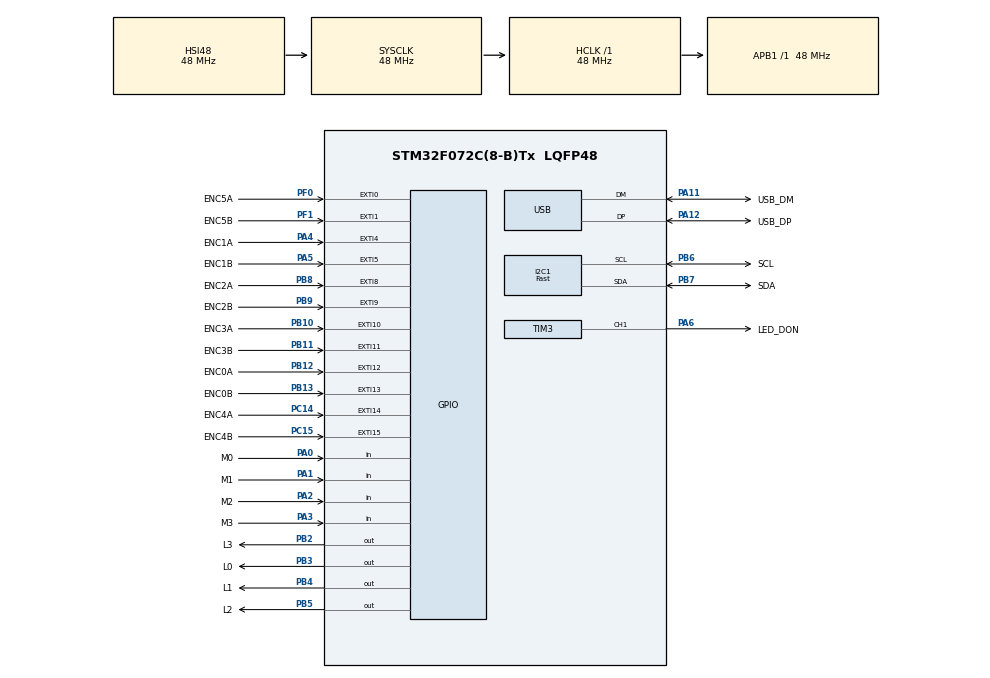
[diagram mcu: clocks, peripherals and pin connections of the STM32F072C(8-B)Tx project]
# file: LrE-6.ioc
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Dma.I2C1_TX.1.Direction=DMA_MEMORY_TO_PERIPH
Dma.I2C1_TX.1.Instance=DMA1_Channel6
Dma.I2C1_TX.1.MemDataAlignment=DMA_MDATAALIGN_BYTE
Dma.I2C1_TX.1.MemInc=DMA_MINC_ENABLE
Dma.I2C1_TX.1.Mode=DMA_NORMAL
Dma.I2C1_TX.1.PeriphDataAlignment=DMA_PDATAALIGN_BYTE
Dma.I2C1_TX.1.PeriphInc=DMA_PINC_DISABLE
Dma.I2C1_TX.1.Priority=DMA_PRIORITY_MEDIUM
Dma.Request0=TIM3_CH1/TRIG
Dma.Request1=I2C1_TX
Dma.TIM3_CH1/TRIG.0.Direction=DMA_MEMORY_TO_PERIPH
Dma.TIM3_CH1/TRIG.0.Instance=DMA1_Channel4
Dma.TIM3_CH1/TRIG.0.MemDataAlignment=DMA_MDATAALIGN_HALFWORD
Dma.TIM3_CH1/TRIG.0.MemInc=DMA_MINC_ENABLE
Dma.TIM3_CH1/TRIG.0.Mode=DMA_NORMAL
Dma.TIM3_CH1/TRIG.0.PeriphDataAlignment=DMA_PDATAALIGN_HALFWORD
Dma.TIM3_CH1/TRIG.0.PeriphInc=DMA_PINC_DISABLE
Dma.TIM3_CH1/TRIG.0.Priority=DMA_PRIORITY_LOW
I2C1.AddressingMode=I2C_ADDRESSINGMODE_7BIT
I2C1.Analog_Filter=I2C_ANALOGFILTER_ENABLE
I2C1.DualAddressMode=I2C_DUALADDRESS_DISABLE
I2C1.GeneralCallMode=I2C_GENERALCALL_DISABLE
I2C1.I2C_Coeff_DF=0
I2C1.I2C_Fall_Time=100
I2C1.I2C_Rise_Time=100
I2C1.I2C_Speed_Mode=I2C_Fast
I2C1.NoStretchMode=I2C_NOSTRETCH_DISABLE
I2C1.OwnAddress=0
I2C1.Speed=400
I2C1.Timing=0x0010020A
Mcu.Family=STM32F0
Mcu.Name=STM32F072C(8-B)Tx
Mcu.Package=LQFP48
Mcu.UserConstants=Lr_PID,0xA320;TIM_PERIOD_24mS,24576;TIM_PERIOD_8mS,7999;TIM_PERIOD_32mS,32768;TIM_PERIOD_125uS,125;PWM_HI,38;TIM_PRESC_1uS,47;Lr_VENDOR,"Ruffles Inc.";PWM_LO,15;Lr_PRODUCT,"LrE-6";PWM_PERIOD,59
NVIC.DMA1_Channel4_5_6_7_IRQn=true\:0\:0\:false\:false\:true\:false\:true
NVIC.EXTI0_1_IRQn=true\:0\:0\:false\:false\:true\:true\:true
NVIC.EXTI4_15_IRQn=true\:0\:0\:false\:false\:true\:true\:true
NVIC.I2C1_IRQn=true\:0\:0\:false\:false\:true\:true\:true
NVIC.TIM1_BRK_UP_TRG_COM_IRQn=true\:0\:0\:false\:false\:true\:true\:true
NVIC.TIM6_DAC_IRQn=true\:0\:0\:false\:false\:true\:true\:true
NVIC.TIM7_IRQn=true\:0\:0\:false\:false\:true\:true\:true
NVIC.USB_IRQn=true\:0\:0\:false\:false\:true\:false\:true
PA0.GPIO_Label=M0
PA0.Signal=GPIO_Input
PA1.GPIO_Label=M1
PA1.Signal=GPIO_Input
PA11.GPIO_Label=USB_DM
PA11.Mode=Device
PA11.Signal=USB_DM
PA12.GPIO_Label=USB_DP
PA12.Mode=Device
PA12.Signal=USB_DP
PA13.GPIO_Label=SWDIO
PA13.Mode=Serial_Wire
PA13.Signal=SYS_SWDIO
PA14.GPIO_Label=SWCLK
PA14.Mode=Serial_Wire
PA14.Signal=SYS_SWCLK
PA2.GPIO_Label=M2
PA2.Signal=GPIO_Input
PA3.GPIO_Label=M3
PA3.Signal=GPIO_Input
PA4.GPIO_Label=ENC1A
PA4.GPIO_ModeDefaultEXTI=GPIO_MODE_IT_RISING_FALLING
PA4.GPIO_PuPd=GPIO_NOPULL
PA4.Signal=GPXTI4
PA5.GPIO_Label=ENC1B
PA5.GPIO_ModeDefaultEXTI=GPIO_MODE_IT_RISING_FALLING
PA5.GPIO_PuPd=GPIO_NOPULL
PA5.Signal=GPXTI5
PA6.GPIO_Label=LED_DON
PA6.Signal=S_TIM3_CH1
PB10.GPIO_Label=ENC3A
PB10.GPIO_ModeDefaultEXTI=GPIO_MODE_IT_RISING_FALLING
PB10.Signal=GPXTI10
PB11.GPIO_Label=ENC3B
PB11.GPIO_ModeDefaultEXTI=GPIO_MODE_IT_RISING_FALLING
PB11.Signal=GPXTI11
PB12.GPIO_Label=ENC0A
PB12.GPIO_ModeDefaultEXTI=GPIO_MODE_IT_RISING_FALLING
PB12.Signal=GPXTI12
PB13.GPIO_Label=ENC0B
PB13.GPIO_ModeDefaultEXTI=GPIO_MODE_IT_RISING_FALLING
PB13.Signal=GPXTI13
PB2.GPIO_Label=L3
PB2.Signal=GPIO_Output
PB3.GPIO_Label=L0
PB3.Signal=GPIO_Output
PB4.GPIO_Label=L1
PB4.Signal=GPIO_Output
PB5.GPIO_Label=L2
PB5.Signal=GPIO_Output
PB6.GPIO_Label=SCL
PB6.GPIO_Pu=GPIO_PULLUP
PB6.Mode=I2C
PB6.Signal=I2C1_SCL
PB7.GPIO_Label=SDA
PB7.GPIO_Pu=GPIO_PULLUP
PB7.Mode=I2C
PB7.Signal=I2C1_SDA
PB8.GPIO_Label=ENC2A
PB8.GPIO_ModeDefaultEXTI=GPIO_MODE_IT_RISING_FALLING
PB8.Signal=GPXTI8
PB9.GPIO_Label=ENC2B
PB9.GPIO_ModeDefaultEXTI=GPIO_MODE_IT_RISING_FALLING
PB9.Signal=GPXTI9
PC14-OSC32_IN.GPIO_Label=ENC4A
PC14-OSC32_IN.GPIO_ModeDefaultEXTI=GPIO_MODE_IT_RISING_FALLING
PC14-OSC32_IN.Signal=GPXTI14
PC15-OSC32_OUT.GPIO_Label=ENC4B
PC15-OSC32_OUT.GPIO_ModeDefaultEXTI=GPIO_MODE_IT_RISING_FALLING
PC15-OSC32_OUT.Signal=GPXTI15
PF0-OSC_IN.GPIO_Label=ENC5A
PF0-OSC_IN.GPIO_ModeDefaultEXTI=GPIO_MODE_IT_RISING_FALLING
PF0-OSC_IN.Signal=GPXTI0
PF1-OSC_OUT.GPIO_Label=ENC5B
PF1-OSC_OUT.GPIO_ModeDefaultEXTI=GPIO_MODE_IT_RISING_FALLING
PF1-OSC_OUT.Signal=GPXTI1
ProjectManager.HeapSize=0x200
ProjectManager.StackSize=0x400
ProjectManager.TargetToolchain=STM32CubeIDE
RCC.AHBFreq_Value=48000000
RCC.APB1Freq_Value=48000000
RCC.APB1TimFreq_Value=48000000
RCC.FLatency=FLASH_LATENCY_1
RCC.HCLKFreq_Value=48000000
RCC.SYSCLKFreq_VALUE=48000000
RCC.SYSCLKSource=RCC_SYSCLKSOURCE_HSI48
SH.S_TIM3_CH1.0=TIM3_CH1,PWM Generation1 CH1
TIM1.AutoReloadPreload=TIM_AUTORELOAD_PRELOAD_DISABLE
TIM1.ClockDivision=TIM_CLOCKDIVISION_DIV1
TIM1.CounterMode=TIM_COUNTERMODE_UP
TIM1.Period=TIM_PERIOD_8mS
TIM1.Prescaler=TIM_PRESC_1uS
TIM1.RepetitionCounter=0
TIM1.TIM_MasterOutputTrigger=TIM_TRGO_RESET
TIM1.TIM_MasterSlaveMode=TIM_MASTERSLAVEMODE_DISABLE
TIM14.AutoReloadPreload=TIM_AUTORELOAD_PRELOAD_DISABLE
TIM14.ClockDivision=TIM_CLOCKDIVISION_DIV1
TIM14.CounterMode=TIM_COUNTERMODE_UP
TIM14.Period=TIM_PERIOD_125uS
TIM14.Prescaler=TIM_PRESC_1uS
TIM3.AutoReloadPreload=TIM_AUTORELOAD_PRELOAD_ENABLE
TIM3.Channel-PWM\ Generation1\ CH1=TIM_CHANNEL_1
TIM3.ClockDivision=TIM_CLOCKDIVISION_DIV1
TIM3.CounterMode=TIM_COUNTERMODE_UP
TIM3.OCPolarity_1=TIM_OCPOLARITY_LOW
TIM3.Period=PWM_PERIOD
TIM3.Prescaler=0
TIM3.TIM_MasterOutputTrigger=TIM_TRGO_RESET
TIM3.TIM_MasterSlaveMode=TIM_MASTERSLAVEMODE_DISABLE
TIM6.Period=TIM_PERIOD_24mS
TIM6.Prescaler=TIM_PRESC_1uS
TIM7.Period=TIM_PERIOD_32mS
TIM7.Prescaler=TIM_PRESC_1uS
USB.DeviceSpeed=PCD_SPEED_FULL
USB.low_power_enable=DISABLE
USB.lpm_enable=DISABLE
USB.phy_itface=PCD_PHY_EMBEDDED
USB_DEVICE.CLASS_NAME_FS=HID
USB_DEVICE.CONFIGURATION_STRING_HID_FS=HID Config
USB_DEVICE.INTERFACE_STRING_HID_FS=HID Interface
USB_DEVICE.LANGID_STRING=1033
USB_DEVICE.MANUFACTURER_STRING=Lr_VENDOR
USB_DEVICE.PID_HID_FS=Lr_PID
USB_DEVICE.PRODUCT_STRING_HID_FS=Lr_PRODUCT
USB_DEVICE.USBD_DEBUG_LEVEL=0
USB_DEVICE.USBD_MAX_NUM_CONFIGURATION=1
USB_DEVICE.USBD_MAX_NUM_INTERFACES=1
USB_DEVICE.USBD_MAX_STR_DESC_SIZ=512
USB_DEVICE.USBD_SELF_POWERED=1
USB_DEVICE.USBD_SUPPORT_USER_STRING=0
USB_DEVICE.VID=1155
USB_DEVICE.VirtualMode=Hid
USB_DEVICE.VirtualModeFS=Hid_FS
VP_TIM14_VS_ClockSourceINT.Mode=Enable_Timer
VP_TIM1_VS_ClockSourceINT.Mode=Internal
VP_TIM3_VS_ClockSourceINT.Mode=Internal
VP_TIM6_VS_ClockSourceINT.Mode=Enable_Timer
VP_TIM7_VS_ClockSourceINT.Mode=Enable_Timer
VP_USB_DEVICE_VS_USB_DEVICE_HID_FS.Mode=HID_FS
board=custom

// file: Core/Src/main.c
/* USER CODE BEGIN Header */
/**
  ******************************************************************************
  * @file main.c
  * @brief  Main program body
  * @author	remov-b4-flight
  * @copyright	3-Clause BSD License
  ******************************************************************************
  * @attention
  *
  * <h2><center>&copy; Copyright (c) 2020 STMicroelectronics.
  * All rights reserved.</center></h2>
  *
  * This software component is licensed by ST under Ultimate Liberty license
  * SLA0044, the "License"; You may not use this file except in compliance with
  * the License. You may obtain a copy of the License at:
  *                             www.st.com/SLA0044
  *
  ******************************************************************************
*/
/* USER CODE END Header */
#include "main.h"
#include "usb_device.h"

/* USER CODE BEGIN Includes */
#include <stdbool.h>
#include "midi.h"
#include "led.h"
#include "bitcount.h"
#include "key_define.h"
#include "usbd_midi_if.h"
#include "ssd1306.h"
/* USER CODE END Includes */

/* USER CODE BEGIN PTD */
#ifdef DEBUG
#define CONN_MSG_D	"%s %2x.%02xD"
#else
#define CONN_MSG	"%s %2x.%02x"
#endif
/* USER CODE END PTD */

I2C_HandleTypeDef hi2c1;
DMA_HandleTypeDef hdma_i2c1_tx;

TIM_HandleTypeDef htim1;
TIM_HandleTypeDef htim3;
TIM_HandleTypeDef htim6;
TIM_HandleTypeDef htim7;
TIM_HandleTypeDef htim14;
DMA_HandleTypeDef hdma_tim3_ch1_trig;

/* USER CODE BEGIN PV */

//! STM32 TIM3 instance handle
TIM_HandleTypeDef htim3;
extern	USBD_HandleTypeDef hUsbDeviceFS;
//! Lr**** USB connection state
uint8_t		LrState;
//! Lr**** Scene index
uint8_t		LrScene;
// keyboard variable
//! If true, ISR detected any Key/Encoder was moved.
bool		isKeyPressed;
//! Key pressed/released status set by timer key scanning.
KEYSCAN     Key_Stat;
//! In key scanning whether Line selected to read for key matrix.
uint8_t		Key_Line;
//! If true, MIDI event previous sent is switch. if false, it's encoder
bool		isPrev_sw;
//! Bit masks for which bit of KEYSCAN variable acts as key.
uint32_t	MaskKey[SCENE_COUNT];
//! Bit masks for which bit of KEYSCAN variable acts as encoder.
uint32_t	MaskEnc[SCENE_COUNT];

// OLED variables
//! Flag set by timer ISR, It makes 'off' OLES contents.
bool 		Msg_Timer_Update;
//! Timer counter ticked by end of L3 matrix scanning. (16ms interval).
int32_t		Msg_Timer_Count;
//! If true Msg_Timer counting is enabled.
bool		Msg_Timer_Enable;
//! If true, Screen is cleared in main() that is determined on timer interrupt.
bool		Msg_Off_Flag;
//! If true, Screen is flashed by Msg_Buffer[] at main() function.
static	bool	isMsgFlash;
//! If true, frame_buffer[] contents flashes the screen.
static	bool	isRender;

// LED variables
//! If true, LEDs are flashed by LEDColor[] array.
bool		isLEDsendpulse;
//! Flag is set by timer ISR, It makes LED_Timer[] count up in main()
bool		LED_Timer_Update;

// Scene related
extern	KEY_DEFINE keytable[SCENE_COUNT][DEFINES_PER_SCENE];
extern	char *scene_name[SCENE_COUNT];
extern	uint8_t	led_axis_table[DEFINES_PER_SCENE];

extern	uint8_t	LED_Scene[SCENE_COUNT][LED_COUNT];
extern	uint8_t	LEDColor[LED_COUNT];
extern	uint8_t	LEDTimer[LED_COUNT];

//! String message buffer of screen
extern char Msg_Buffer[MSG_LINES][MSG_WIDTH + 1];

// MIDI variables
//! MIDI CC message value for each channels.
uint8_t MIDI_CC_Value[SCENE_COUNT][ENC_COUNT];
//! keep previous sent 'Key On' note/channel for release message.
uint8_t prev_note;
//! USB MIDI message structure for send
MIDI_EVENT	USBMIDI_Event;

//! Instance Handle of USB interface
extern USBD_HandleTypeDef *pInstance;

/* USER CODE END PV */

void SystemClock_Config(void);
static void MX_GPIO_Init(void);
static void MX_DMA_Init(void);
static void MX_I2C1_Init(void);
static void MX_TIM3_Init(void);
static void MX_TIM1_Init(void);
static void MX_TIM14_Init(void);
static void MX_TIM6_Init(void);
static void MX_TIM7_Init(void);
/* USER CODE BEGIN PFP */
void EmulateKeyboard();
/* USER CODE END PFP */

/* USER CODE BEGIN 0 */

/**
 *	@brief	Mask all EXTI lines of encoders
 */
static void Stop_All_Encoders(){
	uint32_t temp = EXTI->IMR;
	temp &= 0xffff0000;
	EXTI->IMR = temp;
}
/**
 * @brief	Release all EXTI lines masked by StopAllEncoders()
 */
static void Start_All_Encoders(){
	uint32_t temp = EXTI->IMR;
	temp |= 0x0000ffff;
	EXTI->IMR = temp;
}

static inline void Start_MsgTimer(uint32_t tick){
	Msg_Off_Flag = false;
	Msg_Timer_Count = tick;
	Msg_Timer_Enable = true;
}

static inline void Msg_Print(){
	isMsgFlash = true;
}

/**
 * @brief alter LED contents by scene
 * @param scene	Scene No
 */
static void LED_SetScene(uint8_t scene){
	memcpy(LEDColor, LED_Scene[scene], LED_COUNT);
	LED_SendPulse();
}
/**
 * @brief Make MaskKey[],MaskRot[] from keytable[](in key_define.c)
 * @return false : there is some configuration error.
 */
static void	MakeMasks(){
	for(uint8_t scn = 0; scn < SCENE_COUNT; scn++){
		for(uint8_t bit = 0; bit < DEFINES_PER_SCENE; bit++){
			uint32_t	or_bit = (1 << bit);
			MaskKey[scn] |= (keytable[scn][bit].type == TYPE_SWITCH)?	or_bit : 0;
			MaskEnc[scn] |= (keytable[scn][bit].type == TYPE_ROTARY)?	or_bit : 0;
		}
	}
}

/**
 *	@brief	Generate MIDI event and Send to host by User interaction.
 *	@return true : function processed any Key/Encoder event.
 *	@pre	isKeyPressed	any key is pressed or not
 *	@pre	Key_Stat		current key status
 */
static void EmulateMIDI(){
	char msg_string[MSG_WIDTH];

	if (isKeyPressed) {
    	//Send 'Note On' Event from key matrix
        uint8_t		bitpos = ntz32(Key_Stat.wd);
        uint32_t	rkey = (Key_Stat.wd);
        bool 		isKeyReport = false;

        if ( Key_Stat.wd & MaskKey[LrScene] ) { //Matrix switches
        	uint8_t	note = (LrScene * NOTES_PER_SCENE) + bitpos;
        	if (bitpos == SCENE_BIT) { //is [SCENE] switch pressed?
            	//Move to next Scene.
            	if((++LrScene) >= SCENE_COUNT){
            		LrScene = Lr_SCENE0;
        		}
        		LED_SetScene(LrScene);
        		strcpy(msg_string, scene_name[LrScene]);
        	}else{
                LED_SetPulse(keytable[LrScene][bitpos].axis, keytable[LrScene][bitpos].color, keytable[LrScene][bitpos].period);
            	sprintf(msg_string, "Note: %3d    S%1d", note, (LrScene % SCENE_COUNT) );
        	}
                isKeyReport = true;

            //Print Message to OLED & LED
            if (keytable[LrScene][bitpos].message != NULL) {
            	SSD1306_SetScreen(ON);

        		strcpy(Msg_Buffer[0], keytable[LrScene][bitpos].message);
        		strcpy(Msg_Buffer[1], msg_string);
        		Msg_Print();

            	Start_MsgTimer(MSG_TIMER_DEFAULT);
            }

            if (isKeyReport == true) {
				//Set 'Note ON
				USBMIDI_Event.header = MIDI_NT_ON;
				USBMIDI_Event.status = MIDI_NT_ON_S;
				USBMIDI_Event.channel = note;
				USBMIDI_Event.value = MIDI_NT_VELOCITY;

				prev_note = note;
				isPrev_sw = true;
            }
        }else if( Key_Stat.wd & MaskEnc[LrScene] ) {
        	//Send CC Event from encoder
        	uint8_t axis = (bitpos - KEY_COUNT) / 2;
        	uint8_t val = MIDI_CC_Value[LrScene][axis];
        	uint8_t channel = CC_CH_OFFSET + (LrScene * CC_CH_PER_SCENE) + axis;

            USBMIDI_Event.header = MIDI_CC_HEADER;
            USBMIDI_Event.status = MIDI_CC_STATUS;
            USBMIDI_Event.channel = channel;
            USBMIDI_Event.value = val;

            isPrev_sw = false;

            //Print Message to OLED & LED
            if (keytable[LrScene][bitpos].message != NULL) {
            	SSD1306_SetScreen(ON);
                sprintf(msg_string,
                	((channel > 99)? "C%3d = %3d    S%1d" : "Ch%1d = %3d    S%1d"), channel, val, LrScene);
                strcpy(Msg_Buffer[0], keytable[LrScene][bitpos].message);
            	strcpy(Msg_Buffer[1], msg_string);
            	Msg_Print();

            	Start_MsgTimer(MSG_TIMER_DEFAULT);
            }
            LED_SetPulse(keytable[LrScene][bitpos].axis, keytable[LrScene][bitpos].color, keytable[LrScene][bitpos].period);
            isKeyReport = true;

        }else if(isPrev_sw == true && rkey == 0) {// Switch is released
			//Send 'Note Off' Event
			USBMIDI_Event.header = MIDI_NT_OFF;
			USBMIDI_Event.status = MIDI_NT_OFF_S;
			USBMIDI_Event.channel = prev_note;
			USBMIDI_Event.value = MIDI_NT_VELOCITY;

			isKeyReport = true;
			isPrev_sw = false;
        }

        if(isKeyReport == true){
			//Send MIDI event via USB
		    USBD_LL_Transmit (pInstance, MIDI_IN_EP, (uint8_t *)&USBMIDI_Event, MIDI_EVENT_LENGTH);
			isKeyReport = false;
        }

        /* Clear the switch pressed flag */
        isKeyPressed = false;
    }
}
/* USER CODE END 0 */

int main(void)
{
  /* USER CODE BEGIN 1 */
  //! Indicates 1st Msg_Timer timeout has occurred from power on reset.
  bool Msg_1st_timeout = true;
  /* USER CODE END 1 */

  /* MCU Configuration--------------------------------------------------------*/

  /* Reset of all peripherals, Initializes the Flash interface and the Systick. */
  HAL_Init();

  /* USER CODE BEGIN Init */
  Key_Line = L0;
  Msg_Off_Flag = false;
  Msg_Timer_Enable = false;
  Msg_Timer_Count = MSG_TIMER_DEFAULT;
  isMsgFlash = false;
  isRender = true;

  LrState = LR_RESET;
  LrScene = Lr_SCENE0;

  isPrev_sw = false;
  isLEDsendpulse = false;
  Msg_Timer_Update = false;
  LED_Timer_Update = false;
  /* USER CODE END Init */

  /* Configure the system clock */
  SystemClock_Config();

  /* Initialize all configured peripherals */
  MX_GPIO_Init();
  MX_DMA_Init();
  MX_I2C1_Init();
  MX_TIM3_Init();
  MX_TIM1_Init();
  MX_TIM14_Init();
#if 1
  MX_USB_MIDI_INIT();
#else
  MX_USB_DEVICE_Init();
#endif
  MX_TIM7_Init();
  MX_TIM6_Init();
  /* USER CODE BEGIN 2 */
  //Stop All Encoders until USB link up
  Stop_All_Encoders();
  //Initialize Switch matrix
  HAL_GPIO_WritePin(L0_GPIO_Port, L0_Pin, GPIO_PIN_SET);	//Initialize L0-3.
  MakeMasks();

  //Initialize series of WS2812C
  GPIOA->PUPDR |= GPIO_PUPDR_PUPDR6_0;	//Pull up PA6 (WS2812C-2020 workaround)
  GPIOA->ODR |= GPIO_PIN_6;				//'RESET' state
  //AF -> GPIO
  GPIOA->MODER &= ~(GPIO_MODER_MODER6_1);
  GPIOA->MODER |=	GPIO_MODER_MODER6_0;

  LED_Initialize();						//Set all LEDs to 'OFF'

  //Initialize SSD1306 OLED
  HAL_Delay(SSD1306_PWRUP_WAIT);		//Wait for OLED module power up.
  SSD1306_Initialize();
  /* USER CODE END 2 */

  /* Infinite loop */
  /* USER CODE BEGIN WHILE */
  uint32_t	nc_count = 0;

  HAL_TIM_Base_Start_IT(&htim6);		//Start LED timer.
  HAL_TIM_Base_Start_IT(&htim7);		//Start Message timer.
  Start_MsgTimer(MSG_TIMER_DEFAULT);
  LrState = LR_USB_NOLINK;

  //Initialize CC Value table
  memset(MIDI_CC_Value, MIDI_CC_INITIAL, SCENE_COUNT * ENC_COUNT);

  //LED Initialize
  LED_SetScene(LrScene);

  //Main loop
  while (1) {
	if (LrState == LR_USB_LINKUP) {
		//USB device configured by host
		SSD1306_SetScreen(ON);
		HAL_TIM_Base_Start_IT(&htim1);		//Start Switch matrix timer.
		Start_All_Encoders();				//Start rotary encoder.

#ifdef DEBUG
		int ch = ' ';
		sprintf(Msg_Buffer[0], CONN_MSG_D, Lr_PRODUCT, USBD_DEVICE_VER_MAJ, USBD_DEVICE_VER_MIN);
		memset(Msg_Buffer[1], ch, MSG_WIDTH );
		Msg_Print();
#else
		SSD1306_LoadBitmap();
		sprintf(Msg_Buffer[0], CONN_MSG, Lr_PRODUCT, USBD_DEVICE_VER_MAJ, USBD_DEVICE_VER_MIN);
		SSD1306_RenderBanner(Msg_Buffer[0], 12, 12);
		SSD1306_FlashScreen();
#endif
		Start_MsgTimer(MSG_TIMER_DEFAULT);
		memcpy(LEDColor,LED_Scene[LrScene],LED_COUNT);
		LED_SetPulse(LED_IDX_ENC0, LED_PINK, LED_TIM_CONNECT);
		LrState = LR_USB_LINKED;

	} else if (LrState == LR_USB_LINKED) {
		//Operate as MIDI Instruments.
		EmulateMIDI();
	} else if(LrState == LR_USB_LINK_LOST) {
		LrScene	= Lr_SCENE0;
		Stop_All_Encoders();
		HAL_TIM_Base_Stop(&htim1);

		LED_TestPattern();
		Msg_1st_timeout = false;
		Start_MsgTimer(MSG_TIMER_DEFAULT);
		nc_count = 0;
		LrState = LR_USB_NOLINK;

	} else if(LrState == LR_USB_NOLINK) {
		//USB can't be configured or disconnected by host.
		if (Msg_Off_Flag == true) {
			if (Msg_1st_timeout == true) {
				LrState = LR_USB_LINK_LOST;
			} else { // 2nd or more
				sprintf(Msg_Buffer[0], "%12ld", nc_count++);
				SSD1306_SetScreen(ON);

				Msg_Print();

				//Restart OLED timer.
				Start_MsgTimer(MSG_TIMER_UPDATE);

				//Rotate LED colors
				uint8_t	tempcolor = LEDColor[5];
				LEDColor[5] = LEDColor[4];
				LEDColor[4] = LEDColor[3];
				LEDColor[3] = LEDColor[2];
				LEDColor[2] = LEDColor[1];
				LEDColor[1] = LEDColor[0];
				LEDColor[0] = tempcolor;

				isLEDsendpulse = true;
			}
		}// Msg_Off_Flag
	}// LrState

	//LED Timer
	if (LED_Timer_Update == true){ //24ms interval
		for (uint8_t i = 0; i < LED_COUNT; i++){
			if (LEDTimer[i] != LED_TIMER_CONSTANT && --LEDTimer[i] == 0) {
				LED_SetPulse(i, LED_Scene[LrScene][i], LED_TIMER_CONSTANT);
		 	}
		}
		LED_Timer_Update = false;
		continue;
	}

	//Flashing LEDs
	if (isLEDsendpulse == true) {
		if (LED_SendPulse() == true){
			isLEDsendpulse = false;
		}else{
			HAL_Delay(LED_TIM_RETRY_WAIT);	// i2c is busy, retry with interval
		}
		continue;
	}

	//OLED timer
	if (Msg_Timer_Update == true){
		if(Msg_Timer_Enable == true && (--Msg_Timer_Count) <= 0){
			Msg_Timer_Enable = false;
			Msg_Off_Flag = true;
		}
		Msg_Timer_Update = false;
		continue;
	}

	//OLED off Timer
	if(Msg_Off_Flag == true){
		Msg_Off_Flag = false;
		SSD1306_SetScreen(OFF);
		SSD1306_ClearBuffer();
		continue;
	}

	//Flashing OLED.
	if (isMsgFlash == true) {
		if (isRender == true) {
			SSD1306_Render2Buffer();
			isRender = false;
		}
		if (SSD1306_FlashScreen() == true) {
			isMsgFlash = false;	// success to flash
			isRender = true;
		} else {
			HAL_Delay(I2C_RETRY_WAIT);	// i2c is busy, retry with interval
		}
		continue;
	}
#ifndef DEBUG
	HAL_PWR_EnterSLEEPMode(PWR_LOWPOWERREGULATOR_ON, PWR_SLEEPENTRY_WFI);
#endif
    /* USER CODE END WHILE */

  }
}

void SystemClock_Config(void)
{
  RCC_OscInitTypeDef RCC_OscInitStruct = {0};
  RCC_ClkInitTypeDef RCC_ClkInitStruct = {0};
  RCC_PeriphCLKInitTypeDef PeriphClkInit = {0};

  /** Initializes the RCC Oscillators according to the specified parameters
  * in the RCC_OscInitTypeDef structure.
  */
  RCC_OscInitStruct.OscillatorType = RCC_OSCILLATORTYPE_HSI|RCC_OSCILLATORTYPE_HSI48;
  RCC_OscInitStruct.HSIState = RCC_HSI_ON;
  RCC_OscInitStruct.HSI48State = RCC_HSI48_ON;
  RCC_OscInitStruct.HSICalibrationValue = RCC_HSICALIBRATION_DEFAULT;
  RCC_OscInitStruct.PLL.PLLState = RCC_PLL_NONE;
  if (HAL_RCC_OscConfig(&RCC_OscInitStruct) != HAL_OK)
  {
    Error_Handler();
  }
  /** Initializes the CPU, AHB and APB buses clocks
  */
  RCC_ClkInitStruct.ClockType = RCC_CLOCKTYPE_HCLK|RCC_CLOCKTYPE_SYSCLK
                              |RCC_CLOCKTYPE_PCLK1;
  RCC_ClkInitStruct.SYSCLKSource = RCC_SYSCLKSOURCE_HSI48;
  RCC_ClkInitStruct.AHBCLKDivider = RCC_SYSCLK_DIV1;
  RCC_ClkInitStruct.APB1CLKDivider = RCC_HCLK_DIV1;

  if (HAL_RCC_ClockConfig(&RCC_ClkInitStruct, FLASH_LATENCY_1) != HAL_OK)
  {
    Error_Handler();
  }
  PeriphClkInit.PeriphClockSelection = RCC_PERIPHCLK_USB|RCC_PERIPHCLK_I2C1;
  PeriphClkInit.I2c1ClockSelection = RCC_I2C1CLKSOURCE_HSI;
  PeriphClkInit.UsbClockSelection = RCC_USBCLKSOURCE_HSI48;

  if (HAL_RCCEx_PeriphCLKConfig(&PeriphClkInit) != HAL_OK)
  {
    Error_Handler();
  }
}

static void MX_I2C1_Init(void)
{

  hi2c1.Instance = I2C1;
  hi2c1.Init.Timing = 0x0010020A;
  hi2c1.Init.OwnAddress1 = 0;
  hi2c1.Init.AddressingMode = I2C_ADDRESSINGMODE_7BIT;
  hi2c1.Init.DualAddressMode = I2C_DUALADDRESS_DISABLE;
  hi2c1.Init.OwnAddress2 = 0;
  hi2c1.Init.OwnAddress2Masks = I2C_OA2_NOMASK;
  hi2c1.Init.GeneralCallMode = I2C_GENERALCALL_DISABLE;
  hi2c1.Init.NoStretchMode = I2C_NOSTRETCH_DISABLE;
  if (HAL_I2C_Init(&hi2c1) != HAL_OK)
  {
    Error_Handler();
  }
  /** Configure Analogue filter
  */
  if (HAL_I2CEx_ConfigAnalogFilter(&hi2c1, I2C_ANALOGFILTER_ENABLE) != HAL_OK)
  {
    Error_Handler();
  }
  /** Configure Digital filter
  */
  if (HAL_I2CEx_ConfigDigitalFilter(&hi2c1, 0) != HAL_OK)
  {
    Error_Handler();
  }

}

static void MX_TIM1_Init(void)
{

  TIM_ClockConfigTypeDef sClockSourceConfig = {0};
  TIM_MasterConfigTypeDef sMasterConfig = {0};

  htim1.Instance = TIM1;
  htim1.Init.Prescaler = TIM_PRESC_1uS;
  htim1.Init.CounterMode = TIM_COUNTERMODE_UP;
  htim1.Init.Period = TIM_PERIOD_8mS;
  htim1.Init.ClockDivision = TIM_CLOCKDIVISION_DIV1;
  htim1.Init.RepetitionCounter = 0;
  htim1.Init.AutoReloadPreload = TIM_AUTORELOAD_PRELOAD_DISABLE;
  if (HAL_TIM_Base_Init(&htim1) != HAL_OK)
  {
    Error_Handler();
  }
  sClockSourceConfig.ClockSource = TIM_CLOCKSOURCE_INTERNAL;
  if (HAL_TIM_ConfigClockSource(&htim1, &sClockSourceConfig) != HAL_OK)
  {
    Error_Handler();
  }
  sMasterConfig.MasterOutputTrigger = TIM_TRGO_RESET;
  sMasterConfig.MasterSlaveMode = TIM_MASTERSLAVEMODE_DISABLE;
  if (HAL_TIMEx_MasterConfigSynchronization(&htim1, &sMasterConfig) != HAL_OK)
  {
    Error_Handler();
  }

}

static void MX_TIM3_Init(void)
{

  TIM_ClockConfigTypeDef sClockSourceConfig = {0};
  TIM_MasterConfigTypeDef sMasterConfig = {0};
  TIM_OC_InitTypeDef sConfigOC = {0};

  htim3.Instance = TIM3;
  htim3.Init.Prescaler = 0;
  htim3.Init.CounterMode = TIM_COUNTERMODE_UP;
  htim3.Init.Period = PWM_PERIOD;
  htim3.Init.ClockDivision = TIM_CLOCKDIVISION_DIV1;
  htim3.Init.AutoReloadPreload = TIM_AUTORELOAD_PRELOAD_ENABLE;
  if (HAL_TIM_Base_Init(&htim3) != HAL_OK)
  {
    Error_Handler();
  }
  sClockSourceConfig.ClockSource = TIM_CLOCKSOURCE_INTERNAL;
  if (HAL_TIM_ConfigClockSource(&htim3, &sClockSourceConfig) != HAL_OK)
  {
    Error_Handler();
  }
  if (HAL_TIM_PWM_Init(&htim3) != HAL_OK)
  {
    Error_Handler();
  }
  sMasterConfig.MasterOutputTrigger = TIM_TRGO_RESET;
  sMasterConfig.MasterSlaveMode = TIM_MASTERSLAVEMODE_DISABLE;
  if (HAL_TIMEx_MasterConfigSynchronization(&htim3, &sMasterConfig) != HAL_OK)
  {
    Error_Handler();
  }
  sConfigOC.OCMode = TIM_OCMODE_PWM1;
  sConfigOC.Pulse = 0;
  sConfigOC.OCPolarity = TIM_OCPOLARITY_LOW;
  sConfigOC.OCFastMode = TIM_OCFAST_DISABLE;
  if (HAL_TIM_PWM_ConfigChannel(&htim3, &sConfigOC, TIM_CHANNEL_1) != HAL_OK)
  {
    Error_Handler();
  }
  /* USER CODE BEGIN TIM3_Init 2 */
  hdma_tim3_ch1_trig.Instance->CCR &= ~(DMA_CCR_HTIE | DMA_CCR_TEIE);		//Disable DMA1 half or error transfer interrupt(for LEDs).
  /* USER CODE END TIM3_Init 2 */
  HAL_TIM_MspPostInit(&htim3);

}

static void MX_TIM6_Init(void)
{

  TIM_MasterConfigTypeDef sMasterConfig = {0};

  htim6.Instance = TIM6;
  htim6.Init.Prescaler = TIM_PRESC_1uS;
  htim6.Init.CounterMode = TIM_COUNTERMODE_UP;
  htim6.Init.Period = TIM_PERIOD_24mS;
  htim6.Init.AutoReloadPreload = TIM_AUTORELOAD_PRELOAD_DISABLE;
  if (HAL_TIM_Base_Init(&htim6) != HAL_OK)
  {
    Error_Handler();
  }
  sMasterConfig.MasterOutputTrigger = TIM_TRGO_RESET;
  sMasterConfig.MasterSlaveMode = TIM_MASTERSLAVEMODE_DISABLE;
  if (HAL_TIMEx_MasterConfigSynchronization(&htim6, &sMasterConfig) != HAL_OK)
  {
    Error_Handler();
  }

}

static void MX_TIM7_Init(void)
{

  TIM_MasterConfigTypeDef sMasterConfig = {0};

  htim7.Instance = TIM7;
  htim7.Init.Prescaler = TIM_PRESC_1uS;
  htim7.Init.CounterMode = TIM_COUNTERMODE_UP;
  htim7.Init.Period = TIM_PERIOD_32mS;
  htim7.Init.AutoReloadPreload = TIM_AUTORELOAD_PRELOAD_DISABLE;
  if (HAL_TIM_Base_Init(&htim7) != HAL_OK)
  {
    Error_Handler();
  }
  sMasterConfig.MasterOutputTrigger = TIM_TRGO_RESET;
  sMasterConfig.MasterSlaveMode = TIM_MASTERSLAVEMODE_DISABLE;
  if (HAL_TIMEx_MasterConfigSynchronization(&htim7, &sMasterConfig) != HAL_OK)
  {
    Error_Handler();
  }

}

static void MX_TIM14_Init(void)
{

  htim14.Instance = TIM14;
  htim14.Init.Prescaler = TIM_PRESC_1uS;
  htim14.Init.CounterMode = TIM_COUNTERMODE_UP;
  htim14.Init.Period = TIM_PERIOD_125uS;
  htim14.Init.ClockDivision = TIM_CLOCKDIVISION_DIV1;
  htim14.Init.AutoReloadPreload = TIM_AUTORELOAD_PRELOAD_DISABLE;
  if (HAL_TIM_Base_Init(&htim14) != HAL_OK)
  {
    Error_Handler();
  }

}

static void MX_DMA_Init(void)
{

  /* DMA controller clock enable */
  __HAL_RCC_DMA1_CLK_ENABLE();

  /* DMA interrupt init */
  /* DMA1_Channel4_5_6_7_IRQn interrupt configuration */
  HAL_NVIC_SetPriority(DMA1_Channel4_5_6_7_IRQn, 0, 0);
  HAL_NVIC_EnableIRQ(DMA1_Channel4_5_6_7_IRQn);

}

static void MX_GPIO_Init(void)
{
  GPIO_InitTypeDef GPIO_InitStruct = {0};

  /* GPIO Ports Clock Enable */
  __HAL_RCC_GPIOC_CLK_ENABLE();
  __HAL_RCC_GPIOF_CLK_ENABLE();
  __HAL_RCC_GPIOA_CLK_ENABLE();
  __HAL_RCC_GPIOB_CLK_ENABLE();

  /*Configure GPIO pin Output Level */
  HAL_GPIO_WritePin(GPIOB, L3_Pin|L0_Pin|L1_Pin|L2_Pin, GPIO_PIN_RESET);

  /*Configure GPIO pins : ENC4A_Pin ENC4B_Pin */
  GPIO_InitStruct.Pin = ENC4A_Pin|ENC4B_Pin;
  GPIO_InitStruct.Mode = GPIO_MODE_IT_RISING_FALLING;
  GPIO_InitStruct.Pull = GPIO_NOPULL;
  HAL_GPIO_Init(GPIOC, &GPIO_InitStruct);

  /*Configure GPIO pins : ENC5A_Pin ENC5B_Pin */
  GPIO_InitStruct.Pin = ENC5A_Pin|ENC5B_Pin;
  GPIO_InitStruct.Mode = GPIO_MODE_IT_RISING_FALLING;
  GPIO_InitStruct.Pull = GPIO_NOPULL;
  HAL_GPIO_Init(GPIOF, &GPIO_InitStruct);

  /*Configure GPIO pins : M0_Pin M1_Pin M2_Pin M3_Pin */
  GPIO_InitStruct.Pin = M0_Pin|M1_Pin|M2_Pin|M3_Pin;
  GPIO_InitStruct.Mode = GPIO_MODE_INPUT;
  GPIO_InitStruct.Pull = GPIO_NOPULL;
  HAL_GPIO_Init(GPIOA, &GPIO_InitStruct);

  /*Configure GPIO pins : ENC1A_Pin ENC1B_Pin */
  GPIO_InitStruct.Pin = ENC1A_Pin|ENC1B_Pin;
  GPIO_InitStruct.Mode = GPIO_MODE_IT_RISING_FALLING;
  GPIO_InitStruct.Pull = GPIO_NOPULL;
  HAL_GPIO_Init(GPIOA, &GPIO_InitStruct);

  /*Configure GPIO pins : L3_Pin L0_Pin L1_Pin L2_Pin */
  GPIO_InitStruct.Pin = L3_Pin|L0_Pin|L1_Pin|L2_Pin;
  GPIO_InitStruct.Mode = GPIO_MODE_OUTPUT_PP;
  GPIO_InitStruct.Pull = GPIO_NOPULL;
  GPIO_InitStruct.Speed = GPIO_SPEED_FREQ_LOW;
  HAL_GPIO_Init(GPIOB, &GPIO_InitStruct);

  /*Configure GPIO pins : ENC3A_Pin ENC3B_Pin ENC0A_Pin ENC0B_Pin
                           ENC2A_Pin ENC2B_Pin */
  GPIO_InitStruct.Pin = ENC3A_Pin|ENC3B_Pin|ENC0A_Pin|ENC0B_Pin
                          |ENC2A_Pin|ENC2B_Pin;
  GPIO_InitStruct.Mode = GPIO_MODE_IT_RISING_FALLING;
  GPIO_InitStruct.Pull = GPIO_NOPULL;
  HAL_GPIO_Init(GPIOB, &GPIO_InitStruct);

  /* EXTI interrupt init*/
  HAL_NVIC_SetPriority(EXTI0_1_IRQn, 0, 0);
  HAL_NVIC_EnableIRQ(EXTI0_1_IRQn);

  HAL_NVIC_SetPriority(EXTI4_15_IRQn, 0, 0);
  HAL_NVIC_EnableIRQ(EXTI4_15_IRQn);

}

void Error_Handler(void)
{
  /* USER CODE BEGIN Error_Handler_Debug */
  /* User can add his own implementation to report the HAL error return state */
  __disable_irq();
    strcpy(Msg_Buffer[0], "Error");
	Msg_Print();
  /* USER CODE END Error_Handler_Debug */
}
